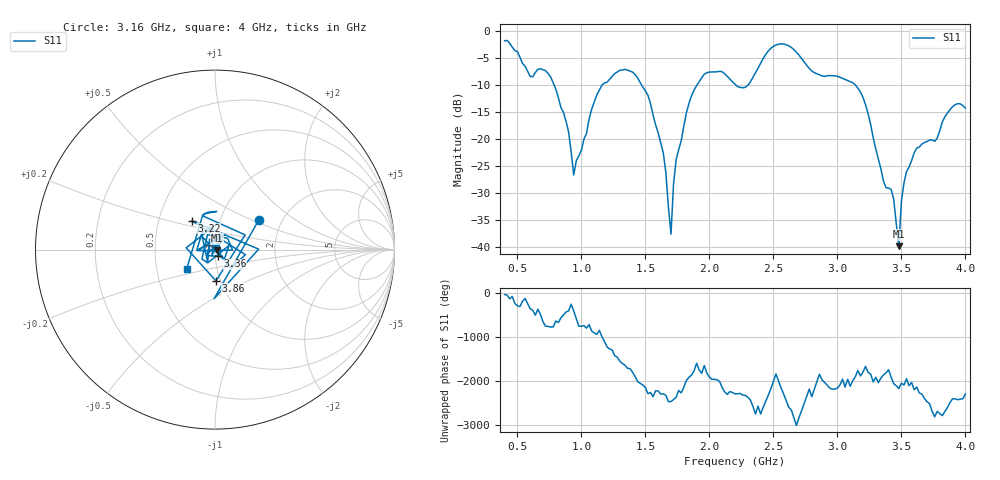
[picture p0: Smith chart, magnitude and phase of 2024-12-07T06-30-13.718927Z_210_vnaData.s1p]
!Created with skrf (http://scikit-rf.org).
# Hz S RI R 50.0
!freq ReS11 ImS11
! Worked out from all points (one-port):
!   181 points, 400 MHz to 4 GHz, reference 50 ohm
!   lowest |S11| = -39.9 dB at 3.48 GHz (marker M1), VSWR 1.02, Z = 51 - j0.332 ohm
!   |S11| at or under -10 dB: 786.8 MHz to 1.161 GHz (373.9 MHz wide, 38.4 % of centre); 1.471 GHz to 1.902 GHz (431.5 MHz wide, 25.6 % of centre); 3.141 GHz to end of sweep (the widest 3 of 4)
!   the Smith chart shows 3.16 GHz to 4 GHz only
!   S11 on the Smith chart (normalised r, x): 3.16 GHz: 1.53, +0.56; 3.22 GHz: 0.73, +0.25; 3.36 GHz: 1.03, -0.08; 3.86 GHz: 0.95, -0.34; 4 GHz: 0.71, -0.16
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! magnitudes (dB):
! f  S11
! 400 MHz  -1.8
! 600 MHz  -8.4
! 740 MHz  -7.8
! 860 MHz  -15.1
! 940 MHz  -26.7
! 1.12 GHz  -11.8
! 1.3 GHz  -7.2
! 1.54 GHz  -13.4
! 1.64 GHz  -22.6
! 1.7 GHz  -37.7
! 1.72 GHz  -28.3
! 1.76 GHz  -22.0
! 1.86 GHz  -12.0
! 1.96 GHz  -8.0
! 2.2 GHz  -9.8
! 2.3 GHz  -10.1
! 2.5 GHz  -2.8
! 2.66 GHz  -3.4
! 3.1 GHz  -9.4
! 3.16 GHz  -10.6
! 3.22 GHz  -13.6
! 3.36 GHz  -27.8
! 3.44 GHz  -31.2
! 3.48 GHz  -39.9
! 3.5 GHz  -31.6
! 3.56 GHz  -25.2
! 3.86 GHz  -15.2
! 4 GHz  -14.3
